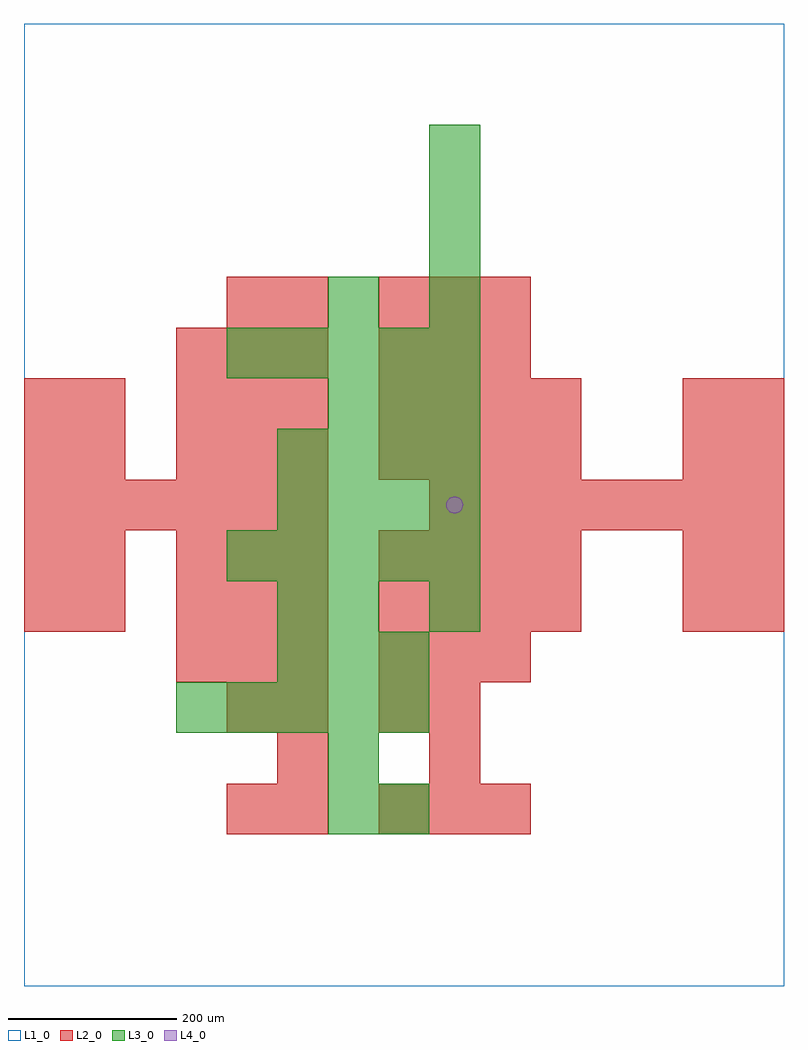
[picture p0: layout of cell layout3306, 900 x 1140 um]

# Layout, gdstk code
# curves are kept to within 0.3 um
import gdstk
lib = gdstk.Library(unit=1e-6, precision=1e-09)
def R(c, l, rs):  # rectangles x0, y0, x1, y1
    for r in rs: c.add(gdstk.rectangle(r[:2], r[2:], *l))
def A(c, l, x, y, w, h, nx, ny, dx, dy):  # array of equal rectangles
    R(c, l, [(x+i*dx, y+j*dy, x+i*dx+w, y+j*dy+h) for i in range(nx) for j in range(ny)])
def P(c, l, *ps):  # polygons
    for p in ps: c.add(gdstk.Polygon(p, *l))
L1_0 = (1, 0)
L2_0 = (2, 0)
L3_0 = (3, 0)
L4_0 = (4, 0)

layout3306 = lib.new_cell('layout3306')
R(layout3306, L1_0, [(0,0,900,1140)])
A(layout3306, L2_0, 300, 180, 60, 60, 1, 3, 0, 60)
A(layout3306, L2_0, 420, 180, 60, 60, 3, 2, 60, 180)
A(layout3306, L2_0, 180, 360, 60, 60, 3, 3, 60, 60)
A(layout3306, L2_0, 420, 420, 60, 60, 4, 2, 60, 60)
A(layout3306, L2_0, 0, 540, 60, 60, 6, 1, 60, 0)
A(layout3306, L2_0, 480, 540, 60, 60, 7, 1, 60, 0)
A(layout3306, L2_0, 180, 600, 60, 60, 3, 3, 60, 60)
A(layout3306, L2_0, 420, 600, 60, 60, 4, 2, 60, 60)
A(layout3306, L2_0, 420, 720, 60, 60, 3, 2, 60, 60)
R(layout3306, L2_0, [(240,180,300,240), (480,240,540,300), (240,300,300,360), (420,300,480,360), (480,300,540,360), (0,420,60,480), (60,420,120,480), (780,420,840,480), (840,420,900,480), (0,480,60,540), (60,480,120,540), (780,480,840,540), (840,480,900,540), (0,600,60,660), (60,600,120,660), (780,600,840,660), (840,600,900,660), (0,660,60,720), (60,660,120,720), (780,660,840,720), (840,660,900,720), (240,780,300,840), (300,780,360,840)])
A(layout3306, L3_0, 180, 300, 60, 60, 5, 1, 60, 0)
A(layout3306, L3_0, 300, 360, 60, 60, 3, 1, 60, 0)
A(layout3306, L3_0, 240, 480, 60, 60, 5, 2, 60, 240)
A(layout3306, L3_0, 300, 540, 60, 60, 4, 2, 60, 60)
A(layout3306, L3_0, 360, 660, 60, 60, 3, 1, 60, 0)
A(layout3306, L3_0, 480, 780, 60, 60, 1, 4, 0, 60)
R(layout3306, L3_0, [(360,180,420,240), (420,180,480,240), (360,240,420,300), (300,420,360,480), (360,420,420,480), (480,420,540,480), (360,780,420,840)])
P(layout3306, L4_0, [(520,570),(519.239,573.827),(517.071,577.071),(513.827,579.239),(510,580),(506.173,579.239),(502.929,577.071),(500.761,573.827),(500,570),(500.761,566.173),(502.929,562.929),(506.173,560.761),(510,560),(513.827,560.761),(517.071,562.929),(519.239,566.173)])

lib.write_gds('layout3306.gds')
